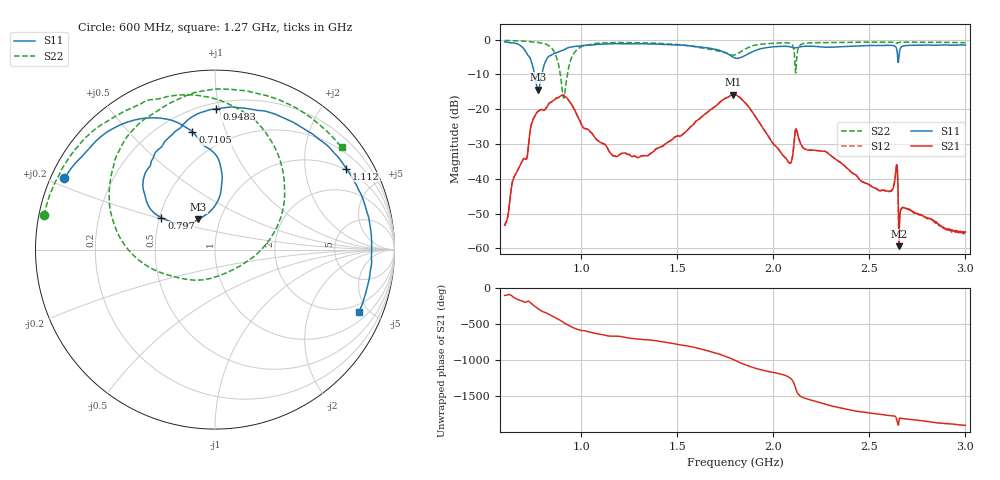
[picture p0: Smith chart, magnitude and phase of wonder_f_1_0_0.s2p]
#  HZ  S  RI  R  50.00
! Rohde & Schwarz ZVB8 2Ports - Version 2.81 - 1145.1010k08 SN: 100113
! Date: 2016-05-12 03:16:10
! Measurements: S11 S21 S12 S22
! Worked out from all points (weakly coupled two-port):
!   1000 points, 600 MHz to 3 GHz, reference 50 ohm
!   highest |S21| = -15.85 dB at 1.789 GHz (marker M1); lowest = -59.4 dB at 2.654 GHz (marker M2)
!   lowest |S11| = -14.3 dB at 775.4 MHz (marker M3), VSWR 1.47, Z = 39.4 + j13.7 ohm
!   |S11| at or under -10 dB: 756.3 MHz to 793.6 MHz (37.24 MHz wide, 4.81 % of centre)
!   |S22| runs from -16.8 to -0.2 dB; largest |S21 - S12| = 0.00098
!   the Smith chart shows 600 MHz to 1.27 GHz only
!   S11 on the Smith chart (normalised r, x): 600 MHz: 0.04, +0.22; 710.5 MHz: 0.33, +0.77; 797 MHz: 0.51, +0.21; 948.3 MHz: 0.24, +0.98; 1.112 GHz: 0.95, +3.27; 1.27 GHz: 1.49, -4.36
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6e8  -0.8389 0.397  -0.000331 -0.00214  -0.000311 -0.00209  -0.9541 0.1914
7.105105e8  -0.1255 0.6566  -0.0186 0.00411  -0.0187 0.00398  -0.6936 0.6488
7.753754e8  -0.0927 0.168  0.0245 0.09  0.0248 0.0909  -0.3813 0.8301
7.96997e8  -0.2987 0.1782  0.0769 0.0612  0.0767 0.0618  -0.2297 0.8579
8.762763e8  -0.2839 0.5953  0.0601 -0.1325  0.0603 -0.1321  0.388 0.3044
9.075075e8  -0.1861 0.6852  -0.0675 -0.1445  -0.0667 -0.1445  0.0627 -0.1298
9.483483e8  0.00745 0.7836  -0.1174 -0.0098  -0.1176 -0.0101  -0.5412 0.0883
1.001201e9  0.2724 0.7729  -0.0413 0.0421  -0.0414 0.042  -0.4978 0.6174
1.111712e9  0.731 0.4518  0.00768 0.031  0.00769 0.031  0.0821 0.8931
1.27027e9  0.8026 -0.3456  0.0193 0.0084  0.0193 0.00836  0.7054 0.5692
1.4e9  0.3527 -0.7845  0.0268 -0.00644  0.0269 -0.00639  0.885 0.0677
1.623423e9  -0.5421 -0.5631  -0.0421 -0.0638  -0.0422 -0.0638  0.4864 -0.5886
1.789189e9  -0.5596 -0.048  -0.00825 0.161  -0.0082 0.161  0.1832 -0.5688
1.801201e9  -0.54 -0.051  0.0326 0.1575  0.0329 0.1578  0.2009 -0.5728
2.07988e9  -0.4466 0.6609  -0.0153 -0.00803  -0.0152 -0.008  -0.5634 -0.6972
2.125526e9  -0.3198 0.7012  0.0429 -0.0101  0.0431 -0.00989  -0.184 -0.6534
2.2e9  -0.0402 0.8034  -0.0106 -0.0236  -0.0106 -0.0235  -0.6559 -0.6172
2.601201e9  0.7498 -0.3547  0.00549 0.00374  0.00544 0.00367  -0.8712 0.2878
2.637237e9  0.5713 -0.5398  0.0124 0.00309  0.0123 0.00303  -0.825 0.3621
2.654054e9  0.532 -0.2193  0.000872 -0.000629  0.000927 -0.000617  -0.8324 0.3747
2.798198e9  0.1852 -0.8122  0.00186 -0.00202  0.00184 -0.00203  -0.6381 0.6574
3e9  -0.529 -0.6491  -0.000401 -0.00168  -0.000424 -0.00166  -0.2107 0.8806
